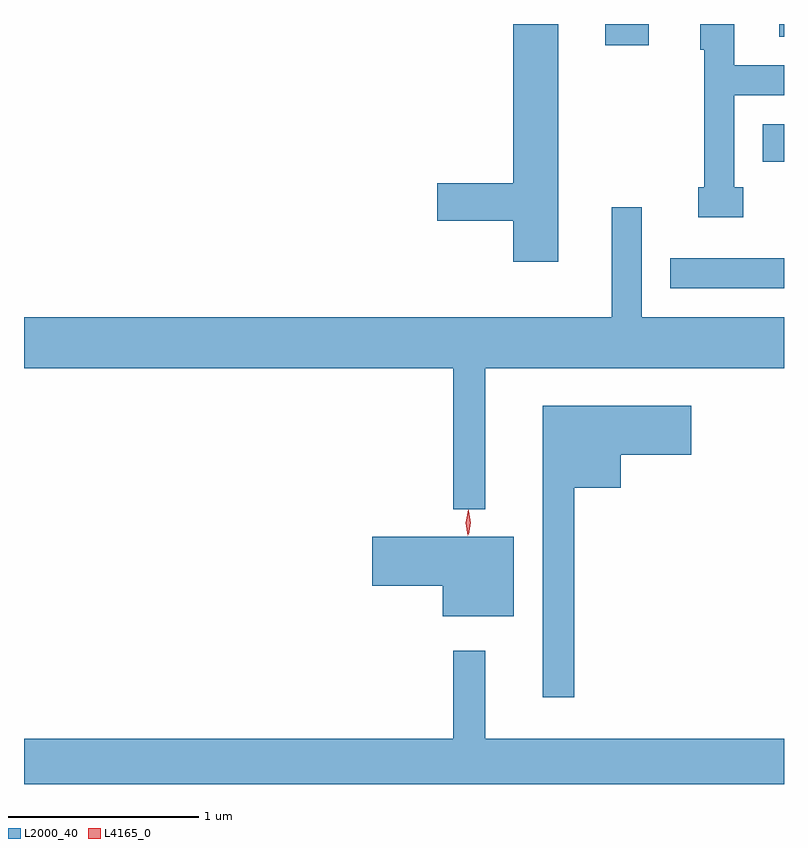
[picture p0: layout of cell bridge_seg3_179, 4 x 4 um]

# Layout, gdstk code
import gdstk
lib = gdstk.Library(unit=1e-6, precision=1e-09)
def R(c, l, rs):  # rectangles x0, y0, x1, y1
    for r in rs: c.add(gdstk.rectangle(r[:2], r[2:], *l))
def P(c, l, *ps):  # polygons
    for p in ps: c.add(gdstk.Polygon(p, *l))
L2000_40 = (2000, 40)
L4165_0 = (4165, 0)

bridge_seg3_179 = lib.new_cell('bridge_seg3_179')
R(bridge_seg3_179, L2000_40, [(721.543,1173.056,722.142,1173.214), (722.031,1173.721,722.142,1173.919), (721.201,1174.336,721.429,1174.447), (722.116,1174.381,722.142,1174.447)])
P(bridge_seg3_179, L2000_40, [(721.928,1173.589),(721.879,1173.589),(721.879,1174.071),(722.142,1174.071),(722.142,1174.229),(721.879,1174.229),(721.879,1174.447),(721.701,1174.447),(721.701,1174.311),(721.721,1174.311),(721.721,1173.589),(721.691,1173.589),(721.691,1173.431),(721.928,1173.431)],
  [(720.954,1174.447),(720.716,1174.447),(720.716,1173.609),(720.316,1173.609),(720.316,1173.411),(720.716,1173.411),(720.716,1173.196),(720.954,1173.196)],
  [(720.569,1172.636),(722.142,1172.636),(722.142,1172.904),(721.394,1172.904),(721.394,1173.483),(721.236,1173.483),(721.236,1172.904),(718.142,1172.904),(718.142,1172.636),(720.401,1172.636),(720.401,1171.893),(720.569,1171.893)],
  [(721.039,1172.006),(721.284,1172.006),(721.284,1172.181),(721.654,1172.181),(721.654,1172.439),(720.871,1172.439),(720.871,1170.903),(721.039,1170.903)],
  [(720.719,1171.749),(719.976,1171.749),(719.976,1171.491),(720.346,1171.491),(720.346,1171.331),(720.719,1171.331)],
  [(722.142,1170.684),(720.569,1170.684),(720.569,1171.148),(720.401,1171.148),(720.401,1170.684),(718.142,1170.684),(718.142,1170.447),(722.142,1170.447)])
P(bridge_seg3_179, L4165_0, [(720.482,1171.76),(720.482,1171.76),(720.472,1171.823),(720.482,1171.886),(720.482,1171.887),(720.483,1171.886),(720.492,1171.823),(720.483,1171.76)],
  [(720.477,1171.754),(720.477,1171.754),(720.468,1171.822),(720.479,1171.89),(720.479,1171.89),(720.48,1171.89),(720.488,1171.822),(720.478,1171.754)])

lib.write_gds('bridge_seg3_179.gds')
